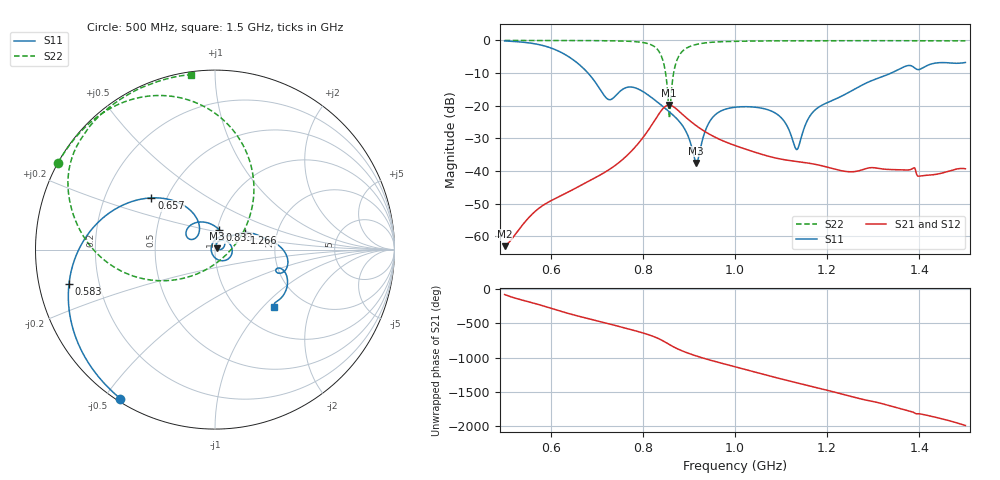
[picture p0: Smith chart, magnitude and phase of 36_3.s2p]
! TOUCHSTONE file generated by CST MICROWAVE STUDIO
! Date and time: Fri Oct 30 08:06:52 2020
! Project name: Scenario_1_Circular_Tissue_out_of_Line.cst
! Parameters = {dy1=260.935; L_HA=400; MT=2.54; Rad_Dielectric=30; Rad_Lower=7.3; Rad_Upper=30; a_HA=580; a_WG=246; b_HA=500; b_WG=121; c_HA=0; c_WG=187; d_feed=85; dx1=520; h_feed=15; h_lower=18; h_upper=40}
! Header version: 2018
! Port assignment regex: !\s*Touchstone port\s*([0-9]+)\s*=\s*(CST MWS port|CST DS port)\s*([0-9]+|Zmin|Zmax)\s*\(\"(.*)\"\)(\s*mode\s*([0-9]+))?.*
! Touchstone port assignment:
! Touchstone port 1 = CST MWS port 1 ("")
! Touchstone port 2 = CST MWS port 2 ("")
# GHz S DB R 50
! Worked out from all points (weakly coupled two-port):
!   1001 points, 500 MHz to 1.5 GHz, reference 50 ohm
!   highest |S21| = -19.82 dB at 857 MHz (marker M1); lowest = -63.0 dB at 500 MHz (marker M2)
!   lowest |S11| = -37.5 dB at 916 MHz (marker M3), VSWR 1.03, Z = 51.1 + j0.771 ohm
!   |S11| at or under -10 dB: 681 MHz to 1.339 GHz (658 MHz wide, 65.1 % of centre)
!   |S22| runs from -23.9 to 0.0 dB; largest |S21 - S12| = 0.00012
!   S11 on the Smith chart (normalised r, x): 500 MHz: 0.01, -0.55; 583 MHz: 0.09, -0.12; 657 MHz: 0.41, +0.30; 833 MHz: 1.03, +0.23; 1.266 GHz: 1.36, +0.27; 1.5 GHz: 1.43, -1.16
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0.5  -0.14 -122.4  -63.05 -81.2  -63.04 -81.2  -0.01 151.1
0.583  -1.55 -166.7  -50.57 115.2  -50.60 115.0  -0.02 145.4
0.657  -6.81 140.8  -45.05 -30.2  -45.04 -30.0  -0.04 139.3
0.667  -8.02 134.4  -44.30 -47.4  -44.29 -47.3  -0.04 138.4
0.725  -18.07 138.5  -39.75 -145.1  -39.76 -145.2  -0.10 131.6
0.775  -14.28 137.3  -33.95 127.0  -33.96 127.0  -0.30 121.9
0.814  -16.98 97.4  -27.05 50.4  -27.05 50.4  -1.11 104.7
0.833  -19.04 77.3  -22.92 0.7  -22.91 0.6  -2.97 85.0
0.834  -19.15 76.2  -22.70 -2.4  -22.70 -2.5  -3.16 83.5
0.846  -20.53 62.8  -20.54 -43.9  -20.54 -44.0  -7.48 59.2
0.857  -21.82 50.0  -19.82 -86.9  -19.82 -86.9  -23.13 -22.7
0.877  -24.49 25.5  -21.51 -157.0  -21.51 -157.0  -5.08 -169.0
0.916  -37.53 34.6  -26.14 104.7  -26.14 104.7  -1.23 159.8
0.949  -24.03 55.7  -29.09 38.8  -29.07 38.7  -0.56 149.4
1  -20.47 4.5  -32.20 -51.7  -32.18 -51.9  -0.28 140.3
1.09  -22.48 -56.0  -36.09 147.7  -36.10 147.8  -0.13 130.6
1.134  -33.44 -175.9  -37.10 74.1  -37.10 74.1  -0.11 126.9
1.167  -22.31 68.7  -37.78 20.3  -37.78 20.3  -0.10 124.2
1.266  -14.42 29.9  -40.04 -149.0  -40.03 -149.1  -0.08 116.7
1.334  -10.31 10.1  -39.54 103.2  -39.54 103.2  -0.09 111.5
1.401  -8.85 -16.9  -41.55 -18.0  -41.55 -18.0  -0.10 106.3
1.5  -6.75 -44.1  -39.33 173.2  -39.33 173.2  -0.14 97.9
